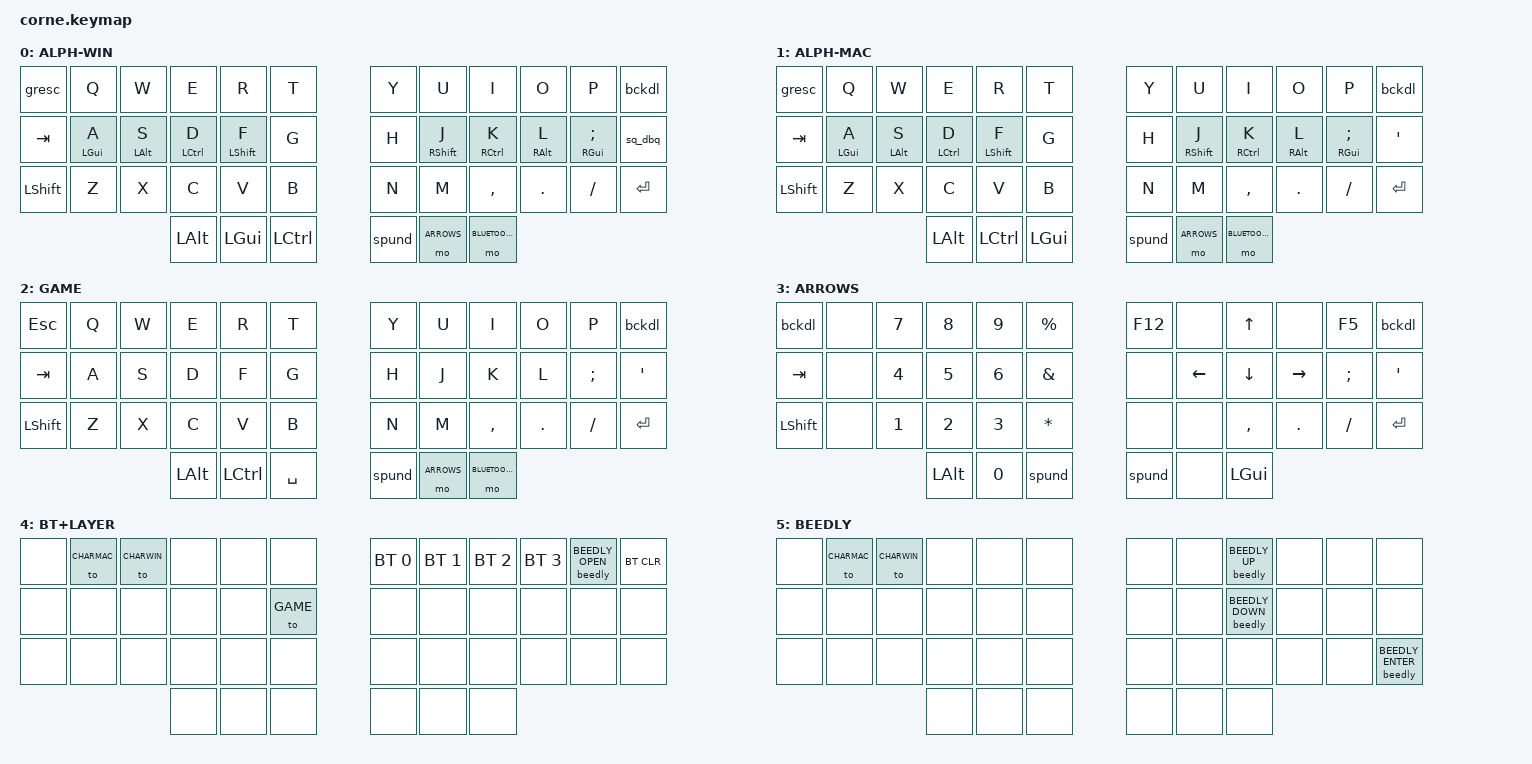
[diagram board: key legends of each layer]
/*
 * Copyright (c) 2020 The ZMK Contributors
 *
 * SPDX-License-Identifier: MIT
 */

#include <behaviors.dtsi>
#include <dt-bindings/zmk/bt.h>
#include <dt-bindings/zmk/keys.h>
#include <dt-bindings/zmk/beedly.h>

#define CHARWIN 0
#define CHARMAC 1
#define GAME 2
#define ARROWS 3
#define BLUETOOTH 4
#define BEEDLY 5


/ {
    behaviors {
        hm: homerow_mods {
            compatible = "zmk,behavior-hold-tap";
            label = "HOMEROW_MODS";
            #binding-cells = <2>;
            tapping-term-ms = <200>;
            quick_tap_ms = <0>;
            flavor = "tap-preferred";
            bindings = <&kp>, <&kp>;

            quick-tap-ms = <180>;
            global-quick-tap;
        };

        spund: space_under {
            compatible = "zmk,behavior-mod-morph";
            #binding-cells = <0>;
            bindings = <&kp SPACE>, <&kp UNDERSCORE>;

            mods = <(MOD_LSFT|MOD_RSFT)>;
        };

        // In all honesty, this is done to circumvent UK locale in windows and is silly

        sq_dbq: single_quote_double_quote {
            compatible = "zmk,behavior-mod-morph";
            #binding-cells = <0>;
            bindings = <&kp SQT>, <&kp AT>;

            mods = <(MOD_LSFT|MOD_RSFT)>;
        };

        bckdl: backspace_delete {
            compatible = "zmk,behavior-mod-morph";
            #binding-cells = <0>;
            bindings = <&kp BACKSPACE>, <&kp DEL>;

            mods = <(MOD_LSFT|MOD_RSFT)>;
        };

        gresc: grave_escape {
            compatible = "zmk,behavior-mod-morph";
            #binding-cells = <0>;
            bindings = <&kp ESC>, <&kp GRAVE>;

            mods = <(MOD_LGUI|MOD_LSFT|MOD_RGUI|MOD_RSFT)>;
        };
    };

    combos {
        compatible = "zmk,combos";

        left_bkt {
            bindings = <&kp LEFT_BRACKET>;
            key-positions = <4 3>;
            timeout-ms = <25>;
            layers = <CHARWIN CHARMAC ARROWS>;
        };

        right_bkt {
            bindings = <&kp RBKT>;
            key-positions = <7 8>;
            timeout-ms = <25>;
            layers = <CHARWIN CHARMAC ARROWS>;
        };

        left_par {
            bindings = <&kp LEFT_PARENTHESIS>;
            key-positions = <15 16>;
            timeout-ms = <25>;
            layers = <CHARWIN CHARMAC ARROWS>;
        };

        right_par {
            bindings = <&kp RIGHT_PARENTHESIS>;
            key-positions = <19 20>;
            timeout-ms = <25>;
            layers = <CHARWIN CHARMAC ARROWS>;
        };

        left_brace {
            bindings = <&kp LEFT_BRACE>;
            key-positions = <27 28>;
            timeout-ms = <25>;
            layers = <CHARWIN CHARMAC ARROWS>;
        };

        right_brace {
            bindings = <&kp RIGHT_BRACE>;
            key-positions = <32 31>;
            timeout-ms = <25>;
            layers = <CHARWIN CHARMAC ARROWS>;
        };

        // Windows bindings for some key programming keymaps, GB locale
        win-hash {
            bindings = <&kp BACKSLASH>;
            key-positions = <5 6>;
            timeout-ms = <25>;
            layers = <CHARWIN>;
        };

        win-pipe {
            bindings = <&kp LS(RA(NON_US_HASH))>;
            key-positions = <17 18>;
            timeout-ms = <25>;
            layers = <CHARWIN>;
        };

        win-tilde {
            bindings = <&kp LS(NON_US_HASH)>;
            key-positions = <21 22>;
            timeout-ms = <25>;
            layers = <CHARWIN>;
        };

        // Mac bindings for some key programming keymaps, GB locale
        mac-hash {
            bindings = <&kp LA(N3)>;
            key-positions = <5 6>;
            layers = <CHARMAC>;
        };

        mac-pipe {
            bindings = <&kp LS(BACKSLASH)>;
            key-positions = <17 18>;
            layers = <CHARMAC>;
        };

        mac-tilde {
            bindings = <&kp LS(GRAVE)>;
            key-positions = <22 21>;
            layers = <CHARMAC>;
};

        excl {
            bindings = <&kp EXCL>;
            key-positions = <1 2>;
            timeout-ms = <25>;
            layers = <CHARWIN CHARMAC ARROWS>;
        };

        win-at {
            bindings = <&kp LS(SQT)>;
            key-positions = <2 3>;
            timeout-ms = <25>;
            layers = <CHARWIN>;
        };

        mac-at {
            bindings = <&kp LS(N2)>;
            key-positions = <2 3>;
            timeout-ms = <25>;
            layers = <CHARMAC>;
        };

        dash {
            bindings = <&kp MINUS>;
            key-positions = <20 21>;
            timeout-ms = <25>;
            layers = <CHARWIN CHARMAC ARROWS>;
        };

        plus {
            bindings = <&kp PLUS>;
            key-positions = <14 15>;
            timeout-ms = <25>;
            layers = <CHARWIN CHARMAC ARROWS>;
        };

        eql {
            bindings = <&kp EQUAL>;
            key-positions = <9 10>;
            timeout-ms = <25>;
            layers = <CHARWIN CHARMAC ARROWS>;
        };

        caret {
            bindings = <&kp CARET>;
            key-positions = <6 7>;
            timeout-ms = <25>;
            layers = <CHARWIN CHARMAC ARROWS>;
        };

        caps {
            bindings = <&kp CAPS>;
            key-positions = <16 19>;
            timeout-ms = <25>;
            layers = <CHARWIN CHARMAC ARROWS>;
        };

        uk_pound {
            bindings = <&kp LS(N3)>;
            key-positions = <4 5>;
            timeout-ms = <25>;
            layers = <CHARWIN CHARMAC ARROWS>;
        };
    };

    keymap {
        compatible = "zmk,keymap";

        CHARWIN {
            display-name = "ALPH-WIN";
            bindings = <
&gresc      &kp Q           &kp W           &kp E        &kp R             &kp T        &kp Y   &kp U         &kp I          &kp O            &kp P               &bckdl
&kp TAB     &hm LEFT_GUI A  &hm LEFT_ALT S  &hm LCTRL D  &hm LEFT_SHIFT F  &kp G        &kp H   &hm RSHIFT J  &hm RCTRL K    &hm RIGHT_ALT L  &hm RGUI SEMICOLON  &sq_dbq
&kp LSHIFT  &kp Z           &kp X           &kp C        &kp V             &kp B        &kp N   &kp M         &kp COMMA      &kp DOT          &kp FSLH            &kp ENTER
                                            &kp LALT     &kp LGUI          &kp LCTRL    &spund  &mo ARROWS    &mo BLUETOOTH
            >;
        };

        CHARMAC {
            display-name = "ALPH-MAC";
            bindings = <
&gresc      &kp Q           &kp W           &kp E        &kp R             &kp T       &kp Y   &kp U         &kp I          &kp O            &kp P               &bckdl
&kp TAB     &hm LEFT_GUI A  &hm LEFT_ALT S  &hm LCTRL D  &hm LEFT_SHIFT F  &kp G       &kp H   &hm RSHIFT J  &hm RCTRL K    &hm RIGHT_ALT L  &hm RGUI SEMICOLON  &kp SQT
&kp LSHIFT  &kp Z           &kp X           &kp C        &kp V             &kp B       &kp N   &kp M         &kp COMMA      &kp DOT          &kp FSLH            &kp ENTER
                                            &kp LALT     &kp LCTRL         &kp LGUI    &spund  &mo ARROWS    &mo BLUETOOTH
            >;
        };

        GAME {
            display-name = "GAME";
            bindings = <
&kp ESC     &kp Q  &kp W  &kp E     &kp R      &kp T       &kp Y     &kp U       &kp I      &kp O    &kp P          &bckdl
&kp TAB     &kp A  &kp S  &kp D     &kp F      &kp G       &kp H     &kp J       &kp K      &kp L    &kp SEMICOLON  &kp SQT
&kp LSHIFT  &kp Z  &kp X  &kp C     &kp V      &kp B       &kp N     &kp M       &kp COMMA  &kp DOT  &kp FSLH       &kp ENTER
                          &kp LALT  &kp LCTL   &kp SPACE   &spund    &mo ARROWS  &mo BLUETOOTH
            >;
        };

        ARROWS {
            display-name = "ARROWS";
            bindings = <
&bckdl      &none  &kp N7  &kp N8    &kp N9  &kp PERCENT    &kp F12  &none     &kp UP     &none      &kp F5    &bckdl
&kp TAB     &none  &kp N4  &kp N5    &kp N6  &kp AMPS       &none    &kp LEFT  &kp DOWN   &kp RIGHT  &kp SEMI  &kp SQT
&kp LSHIFT  &none  &kp N1  &kp N2    &kp N3  &kp STAR       &none    &none     &kp COMMA  &kp DOT    &kp FSLH  &kp ENTER
                           &kp LALT  &kp N0  &spund         &spund   &none     &kp LGUI
            >;
        };

        BLUETOOTH {
            display-name = "BT+LAYER";
            bindings = <
&none  &to CHARMAC  &to CHARWIN  &none  &none  &none       &bt BT_SEL 0  &bt BT_SEL 1  &bt BT_SEL 2  &bt BT_SEL 3  &beedly BEEDLY_OPEN  &bt BT_CLR
&none  &none        &none        &none  &none  &to GAME    &none         &none         &none         &none         &none  &none
&none  &none        &none        &none  &none  &none       &none         &none         &none         &none         &none  &none
                                 &none  &none  &none       &none         &none         &none
            >;
        };

        BEEDLY {
            display-name = "BEEDLY";
            bindings = <
&none  &to CHARMAC  &to CHARWIN  &none  &none  &none    &none  &none  &beedly BEEDLY_UP     &none  &none  &none
&none  &none        &none        &none  &none  &none    &none  &none  &beedly BEEDLY_DOWN   &none  &none  &none
&none  &none        &none        &none  &none  &none    &none  &none  &none                 &none  &none  &beedly BEEDLY_ENTER
                                 &none  &none  &none    &none  &none  &none
            >;
        };

        extra1 { status = "reserved"; };

        extra2 { status = "reserved"; };

        extra3 { status = "reserved"; };

        extra4 { status = "reserved"; };
    };
};
